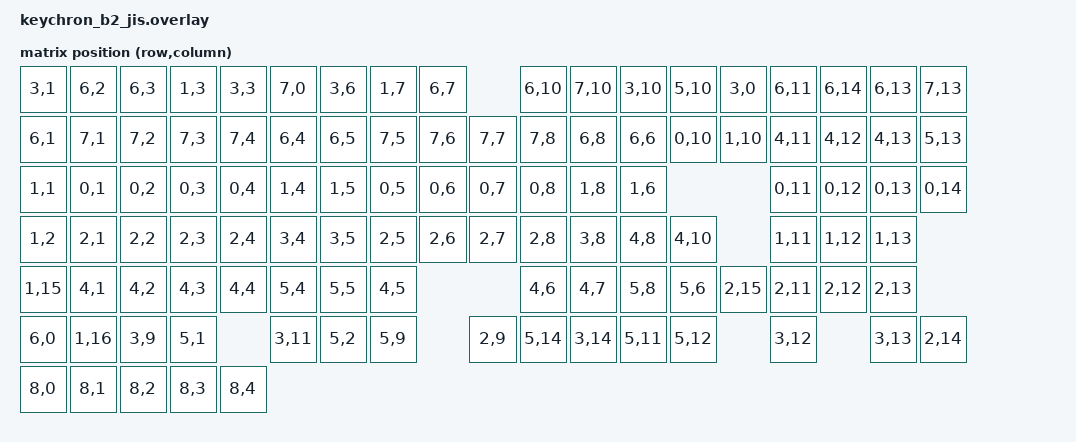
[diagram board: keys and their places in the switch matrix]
/*
 * Copyright (c) 2021 Nick Winans
 *
 * SPDX-License-Identifier: MIT
 */

#include <dt-bindings/zmk/matrix_transform.h>


/ {
   
    default_transform: keymap_transform_0 {
        compatible = "zmk,matrix-transform";
        columns = <18>;
        rows = <8>;
        map = <
            //esc        //f1        //f2       //f3          //f4       //f5     //f6            //f7        //f8        //f9      //f10     //f11          //f12      //f13                   //del         //home      //pgup     //pgdn
            RC(3,1)     RC(6,2)     RC(6,3)     RC(1,3)     RC(3,3)     RC(7,0)     RC(3,6)     RC(1,7)     RC(6,7)     RC(6,10)    RC(7,10)    RC(3,10)    RC(5,10)    RC(3, 0)                RC(6,11)     RC(6,14)    RC(6,13)    RC(7,13)
             //grave      //1      //2            //3      //4            //5        //6         //7       //8            //9       //0        //-           //+=        //int3     //back      //num       // /        //*         // -   
            RC(6,1)     RC(7,1)     RC(7,2)     RC(7,3)    RC(7,4)     RC(6,4)     RC(6,5)     RC(7,5)     RC(7,6)      RC(7,7)     RC(7,8)     RC(6,8)     RC(6,6)     RC(0,10)    RC(1,10)    RC(4,11)     RC(4,12)    RC(4,13)    RC(5,13)
            //tab        //q         //w        //e         //r         // t         //y        //u         //i          //o         //p         //[         //]                                //kp 7       //kp8      //kp 9       //kp +
            RC(1,1)     RC(0,1)     RC(0,2)     RC(0,3)    RC(0,4)      RC(1,4)     RC(1,5)     RC(0,5)     RC(0,6)     RC(0,7)     RC(0,8)     RC(1,8)     RC(1,6)                             RC(0,11)    RC(0,12)     RC(0,13)   RC(0,14)
            //cap        //a         //s         //d        //f            //g      //h          //j        //k             //l      // ;        //' "       //NUHS     //enter                 //4        //5          //6
            RC(1,2)     RC(2,1)     RC(2,2)     RC(2,3)     RC(2,4)     RC(3,4)     RC(3,5)     RC(2,5)     RC(2,6)     RC(2,7)     RC(2,8)     RC(3,8)     RC(4, 8)    RC(4,10)                RC(1,11)    RC(1,12)     RC(1,13)
             //lshit                 //z         //x         //c          //v         //b        //n         //m        //,<         //.>        //?/        //int1     //rshit                 //1            //2         //3
            RC(1,15)                RC(4,1)     RC(4,2)     RC(4,3)     RC(4,4)     RC(5,4)     RC(5,5)     RC(4,5)     RC(4,6)     RC(4,7)     RC(5,8)     RC(5,6)     RC(2,15)                RC(2,11)    RC(2,12)    RC(2,13)
            //lctrl     //win l      //alt l    //int5                   //space     //int4      //int2                 //fn      //left     //up       //down        //right                 //0                     //dot       //kp enter
            RC(6,0)     RC(1,16)    RC(3,9)     RC(5,1)                  RC(3,11)   RC(5,2)     RC(5,9)                 RC(2,9)    RC(5,14)   RC(3,14)   RC(5,11)     RC(5,12)                 RC(3,12)                RC(3,13)    RC(2,14)
            //m/w        //bt        //24g       //ch        //ch done    
            RC(8,0)     RC(8,1)     RC(8,2)     RC(8,3)     RC(8,4)
        >;
    };

};

